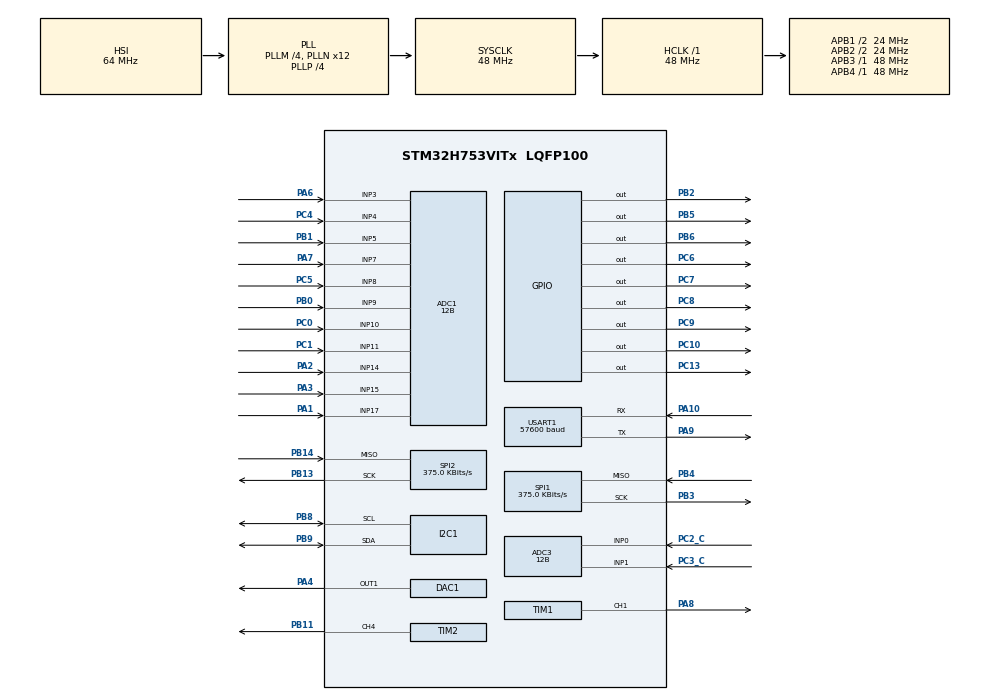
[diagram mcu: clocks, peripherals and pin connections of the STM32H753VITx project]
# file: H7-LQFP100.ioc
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ADC1.Channel-0\#ChannelRegularConversion=ADC_CHANNEL_3
ADC1.Channel-1\#ChannelRegularConversion=ADC_CHANNEL_4
ADC1.Channel-10\#ChannelRegularConversion=ADC_CHANNEL_17
ADC1.Channel-2\#ChannelRegularConversion=ADC_CHANNEL_5
ADC1.Channel-3\#ChannelRegularConversion=ADC_CHANNEL_7
ADC1.Channel-4\#ChannelRegularConversion=ADC_CHANNEL_8
ADC1.Channel-5\#ChannelRegularConversion=ADC_CHANNEL_9
ADC1.Channel-6\#ChannelRegularConversion=ADC_CHANNEL_10
ADC1.Channel-7\#ChannelRegularConversion=ADC_CHANNEL_11
ADC1.Channel-8\#ChannelRegularConversion=ADC_CHANNEL_14
ADC1.Channel-9\#ChannelRegularConversion=ADC_CHANNEL_15
ADC1.ClockPrescaler=ADC_CLOCK_ASYNC_DIV2
ADC1.ClockPrescalerADC3=ADC_CLOCK_ASYNC_DIV2
ADC1.ContinuousConvMode=ENABLE
ADC1.ConversionDataManagement=ADC_CONVERSIONDATA_DMA_CIRCULAR
ADC1.NbrOfConversion=11
ADC1.NbrOfConversionFlag=1
ADC1.OffsetNumber-0\#ChannelRegularConversion=ADC_OFFSET_NONE
ADC1.OffsetNumber-1\#ChannelRegularConversion=ADC_OFFSET_NONE
ADC1.OffsetNumber-10\#ChannelRegularConversion=ADC_OFFSET_NONE
ADC1.OffsetNumber-2\#ChannelRegularConversion=ADC_OFFSET_NONE
ADC1.OffsetNumber-3\#ChannelRegularConversion=ADC_OFFSET_NONE
ADC1.OffsetNumber-4\#ChannelRegularConversion=ADC_OFFSET_NONE
ADC1.OffsetNumber-5\#ChannelRegularConversion=ADC_OFFSET_NONE
ADC1.OffsetNumber-6\#ChannelRegularConversion=ADC_OFFSET_NONE
ADC1.OffsetNumber-7\#ChannelRegularConversion=ADC_OFFSET_NONE
ADC1.OffsetNumber-8\#ChannelRegularConversion=ADC_OFFSET_NONE
ADC1.OffsetNumber-9\#ChannelRegularConversion=ADC_OFFSET_NONE
ADC1.OffsetSignedSaturation-0\#ChannelRegularConversion=DISABLE
ADC1.Overrun=ADC_OVR_DATA_OVERWRITTEN
ADC1.Rank-0\#ChannelRegularConversion=1
ADC1.Rank-1\#ChannelRegularConversion=2
ADC1.Rank-10\#ChannelRegularConversion=11
ADC1.Rank-2\#ChannelRegularConversion=3
ADC1.Rank-3\#ChannelRegularConversion=4
ADC1.Rank-4\#ChannelRegularConversion=5
ADC1.Rank-5\#ChannelRegularConversion=6
ADC1.Rank-6\#ChannelRegularConversion=7
ADC1.Rank-7\#ChannelRegularConversion=8
ADC1.Rank-8\#ChannelRegularConversion=9
ADC1.Rank-9\#ChannelRegularConversion=10
ADC1.Resolution=ADC_RESOLUTION_12B
ADC1.SamplingTime-0\#ChannelRegularConversion=ADC_SAMPLETIME_810CYCLES_5
ADC1.SamplingTime-1\#ChannelRegularConversion=ADC_SAMPLETIME_810CYCLES_5
ADC1.SamplingTime-10\#ChannelRegularConversion=ADC_SAMPLETIME_810CYCLES_5
ADC1.SamplingTime-2\#ChannelRegularConversion=ADC_SAMPLETIME_810CYCLES_5
ADC1.SamplingTime-3\#ChannelRegularConversion=ADC_SAMPLETIME_810CYCLES_5
ADC1.SamplingTime-4\#ChannelRegularConversion=ADC_SAMPLETIME_810CYCLES_5
ADC1.SamplingTime-5\#ChannelRegularConversion=ADC_SAMPLETIME_810CYCLES_5
ADC1.SamplingTime-6\#ChannelRegularConversion=ADC_SAMPLETIME_810CYCLES_5
ADC1.SamplingTime-7\#ChannelRegularConversion=ADC_SAMPLETIME_810CYCLES_5
ADC1.SamplingTime-8\#ChannelRegularConversion=ADC_SAMPLETIME_810CYCLES_5
ADC1.SamplingTime-9\#ChannelRegularConversion=ADC_SAMPLETIME_810CYCLES_5
ADC1.master=1
ADC3.Channel-0\#ChannelRegularConversion=ADC_CHANNEL_TEMPSENSOR
ADC3.Channel-1\#ChannelRegularConversion=ADC_CHANNEL_VREFINT
ADC3.Channel-2\#ChannelRegularConversion=ADC_CHANNEL_0
ADC3.Channel-3\#ChannelRegularConversion=ADC_CHANNEL_1
ADC3.ClockPrescaler=ADC_CLOCK_ASYNC_DIV2
ADC3.ClockPrescalerADC3=ADC_CLOCK_ASYNC_DIV2
ADC3.ContinuousConvMode=ENABLE
ADC3.ConversionDataManagement=ADC_CONVERSIONDATA_DMA_CIRCULAR
ADC3.NbrOfConversion=4
ADC3.NbrOfConversionFlag=1
ADC3.OffsetNumber-0\#ChannelRegularConversion=ADC_OFFSET_NONE
ADC3.OffsetNumber-1\#ChannelRegularConversion=ADC_OFFSET_NONE
ADC3.OffsetNumber-2\#ChannelRegularConversion=ADC_OFFSET_NONE
ADC3.OffsetNumber-3\#ChannelRegularConversion=ADC_OFFSET_NONE
ADC3.OffsetSignedSaturation-0\#ChannelRegularConversion=DISABLE
ADC3.Overrun=ADC_OVR_DATA_OVERWRITTEN
ADC3.Rank-0\#ChannelRegularConversion=1
ADC3.Rank-1\#ChannelRegularConversion=2
ADC3.Rank-2\#ChannelRegularConversion=3
ADC3.Rank-3\#ChannelRegularConversion=4
ADC3.Resolution=ADC_RESOLUTION_12B
ADC3.SamplingTime-0\#ChannelRegularConversion=ADC_SAMPLETIME_810CYCLES_5
ADC3.SamplingTime-1\#ChannelRegularConversion=ADC_SAMPLETIME_810CYCLES_5
ADC3.SamplingTime-2\#ChannelRegularConversion=ADC_SAMPLETIME_810CYCLES_5
ADC3.SamplingTime-3\#ChannelRegularConversion=ADC_SAMPLETIME_810CYCLES_5
DAC1.DAC_Channel-DAC_OUT1=DAC_CHANNEL_1
DAC1.DAC_Trigger-DAC_OUT1=DAC_TRIGGER_T6_TRGO
Dma.ADC1.0.Direction=DMA_PERIPH_TO_MEMORY
Dma.ADC1.0.EventEnable=DISABLE
Dma.ADC1.0.FIFOMode=DMA_FIFOMODE_DISABLE
Dma.ADC1.0.Instance=DMA1_Stream0
Dma.ADC1.0.MemDataAlignment=DMA_MDATAALIGN_HALFWORD
Dma.ADC1.0.MemInc=DMA_MINC_ENABLE
Dma.ADC1.0.Mode=DMA_CIRCULAR
Dma.ADC1.0.PeriphDataAlignment=DMA_PDATAALIGN_HALFWORD
Dma.ADC1.0.PeriphInc=DMA_PINC_DISABLE
Dma.ADC1.0.Polarity=HAL_DMAMUX_REQ_GEN_RISING
Dma.ADC1.0.Priority=DMA_PRIORITY_LOW
Dma.ADC1.0.RequestNumber=1
Dma.ADC1.0.SignalID=NONE
Dma.ADC1.0.SyncEnable=DISABLE
Dma.ADC1.0.SyncPolarity=HAL_DMAMUX_SYNC_NO_EVENT
Dma.ADC1.0.SyncRequestNumber=1
Dma.ADC1.0.SyncSignalID=NONE
Dma.ADC3.1.Direction=DMA_PERIPH_TO_MEMORY
Dma.ADC3.1.EventEnable=DISABLE
Dma.ADC3.1.FIFOMode=DMA_FIFOMODE_DISABLE
Dma.ADC3.1.Instance=DMA1_Stream1
Dma.ADC3.1.MemDataAlignment=DMA_MDATAALIGN_HALFWORD
Dma.ADC3.1.MemInc=DMA_MINC_ENABLE
Dma.ADC3.1.Mode=DMA_CIRCULAR
Dma.ADC3.1.PeriphDataAlignment=DMA_PDATAALIGN_HALFWORD
Dma.ADC3.1.PeriphInc=DMA_PINC_DISABLE
Dma.ADC3.1.Polarity=HAL_DMAMUX_REQ_GEN_RISING
Dma.ADC3.1.Priority=DMA_PRIORITY_LOW
Dma.ADC3.1.RequestNumber=1
Dma.ADC3.1.SignalID=NONE
Dma.ADC3.1.SyncEnable=DISABLE
Dma.ADC3.1.SyncPolarity=HAL_DMAMUX_SYNC_NO_EVENT
Dma.ADC3.1.SyncRequestNumber=1
Dma.ADC3.1.SyncSignalID=NONE
Dma.DAC1_CH1.2.Direction=DMA_MEMORY_TO_PERIPH
Dma.DAC1_CH1.2.EventEnable=DISABLE
Dma.DAC1_CH1.2.FIFOMode=DMA_FIFOMODE_DISABLE
Dma.DAC1_CH1.2.Instance=DMA1_Stream5
Dma.DAC1_CH1.2.MemDataAlignment=DMA_MDATAALIGN_WORD
Dma.DAC1_CH1.2.MemInc=DMA_MINC_ENABLE
Dma.DAC1_CH1.2.Mode=DMA_CIRCULAR
Dma.DAC1_CH1.2.PeriphDataAlignment=DMA_PDATAALIGN_WORD
Dma.DAC1_CH1.2.PeriphInc=DMA_PINC_DISABLE
Dma.DAC1_CH1.2.Polarity=HAL_DMAMUX_REQ_GEN_RISING
Dma.DAC1_CH1.2.Priority=DMA_PRIORITY_LOW
Dma.DAC1_CH1.2.RequestNumber=1
Dma.DAC1_CH1.2.SignalID=NONE
Dma.DAC1_CH1.2.SyncEnable=DISABLE
Dma.DAC1_CH1.2.SyncPolarity=HAL_DMAMUX_SYNC_NO_EVENT
Dma.DAC1_CH1.2.SyncRequestNumber=1
Dma.DAC1_CH1.2.SyncSignalID=NONE
Dma.Request0=ADC1
Dma.Request1=ADC3
Dma.Request2=DAC1_CH1
I2C1.Timing=0x00506682
Mcu.Family=STM32H7
Mcu.Name=STM32H753VITx
Mcu.Package=LQFP100
NVIC.DMA1_Stream0_IRQn=true\:0\:0\:false\:false\:true\:false\:true\:true
NVIC.DMA1_Stream1_IRQn=true\:0\:0\:false\:false\:true\:false\:true\:true
NVIC.DMA1_Stream5_IRQn=true\:0\:0\:false\:false\:true\:false\:true\:true
NVIC.PriorityGroup=NVIC_PRIORITYGROUP_4
NVIC.TIM1_BRK_IRQn=true\:0\:0\:false\:false\:true\:true\:true\:true
NVIC.TIM1_CC_IRQn=true\:0\:0\:false\:false\:true\:true\:true\:true
NVIC.TIM1_TRG_COM_IRQn=true\:0\:0\:false\:false\:true\:true\:true\:true
NVIC.TIM1_UP_IRQn=true\:0\:0\:false\:false\:true\:true\:true\:true
NVIC.TIM2_IRQn=true\:1\:0\:true\:false\:true\:true\:true\:true
NVIC.TIM6_DAC_IRQn=true\:0\:0\:false\:false\:true\:true\:true\:true
NVIC.USART1_IRQn=true\:0\:0\:true\:false\:true\:true\:true\:true
PA1.Mode=IN17-Single-Ended
PA1.Signal=ADC1_INP17
PA10.Mode=Asynchronous
PA10.Signal=USART1_RX
PA2.Signal=ADCx_INP14
PA3.Signal=ADCx_INP15
PA4.Signal=COMP_DAC11_group
PA6.Signal=ADCx_INP3
PA7.Signal=ADCx_INP7
PA8.Signal=S_TIM1_CH1
PA9.Mode=Asynchronous
PA9.Signal=USART1_TX
PB0.Signal=ADCx_INP9
PB1.Signal=ADCx_INP5
PB11.Signal=S_TIM2_CH4
PB13.Mode=RX_Only_Simplex_Unidirect_Master
PB13.Signal=SPI2_SCK
PB14.Mode=RX_Only_Simplex_Unidirect_Master
PB14.Signal=SPI2_MISO
PB2.Signal=GPIO_Output
PB3\ (JTDO/TRACESWO).Mode=RX_Only_Simplex_Unidirect_Master
PB3\ (JTDO/TRACESWO).Signal=SPI1_SCK
PB4\ (NJTRST).Mode=RX_Only_Simplex_Unidirect_Master
PB4\ (NJTRST).Signal=SPI1_MISO
PB5.Signal=GPIO_Output
PB6.Signal=GPIO_Output
PB8.Mode=I2C
PB8.Signal=I2C1_SCL
PB9.Mode=I2C
PB9.Signal=I2C1_SDA
PC0.Signal=ADCx_INP10
PC1.Signal=ADCx_INP11
PC10.Signal=GPIO_Output
PC13.Signal=GPIO_Output
PC14-OSC32_IN\ (OSC32_IN).Mode=LSE-External-Oscillator
PC14-OSC32_IN\ (OSC32_IN).Signal=RCC_OSC32_IN
PC15-OSC32_OUT\ (OSC32_OUT).Mode=LSE-External-Oscillator
PC15-OSC32_OUT\ (OSC32_OUT).Signal=RCC_OSC32_OUT
PC2_C.Mode=IN0-Single-Ended
PC2_C.Signal=ADC3_INP0
PC3_C.Mode=IN1-Single-Ended
PC3_C.Signal=ADC3_INP1
PC4.Signal=ADCx_INP4
PC5.Signal=ADCx_INP8
PC6.Signal=GPIO_Output
PC7.Signal=GPIO_Output
PC8.Signal=GPIO_Output
PC9.Signal=GPIO_Output
PH0-OSC_IN\ (PH0).Mode=HSE-External-Oscillator
PH0-OSC_IN\ (PH0).Signal=RCC_OSC_IN
PH1-OSC_OUT\ (PH1).Mode=HSE-External-Oscillator
PH1-OSC_OUT\ (PH1).Signal=RCC_OSC_OUT
ProjectManager.HeapSize=0x200
ProjectManager.StackSize=0x400
ProjectManager.TargetToolchain=STM32CubeIDE
RCC.ADCFreq_Value=37500000
RCC.APB1Freq_Value=24000000
RCC.APB2Freq_Value=24000000
RCC.APB3Freq_Value=48000000
RCC.APB4Freq_Value=48000000
RCC.CortexFreq_Value=48000000
RCC.D2PPRE1=RCC_APB1_DIV2
RCC.D2PPRE2=RCC_APB2_DIV2
RCC.DIVM1=4
RCC.DIVM2=4
RCC.DIVN1=12
RCC.DIVN2=9
RCC.DIVP1=4
RCC.DIVP2=4
RCC.HCLKFreq_Value=48000000
RCC.PLL2FRACN=3072
RCC.PLL3FRACN=0
RCC.PLLFRACN=0
RCC.SYSCLKFreq_VALUE=48000000
RCC.SYSCLKSource=RCC_SYSCLKSOURCE_PLLCLK
RCC.USBFreq_Value=96000000
SH.ADCx_INP10.0=ADC1_INP10,IN10-Single-Ended
SH.ADCx_INP11.0=ADC1_INP11,IN11-Single-Ended
SH.ADCx_INP14.0=ADC1_INP14,IN14-Single-Ended
SH.ADCx_INP15.0=ADC1_INP15,IN15-Single-Ended
SH.ADCx_INP3.0=ADC1_INP3,IN3-Single-Ended
SH.ADCx_INP4.0=ADC1_INP4,IN4-Single-Ended
SH.ADCx_INP5.0=ADC1_INP5,IN5-Single-Ended
SH.ADCx_INP7.0=ADC1_INP7,IN7-Single-Ended
SH.ADCx_INP8.0=ADC1_INP8,IN8-Single-Ended
SH.ADCx_INP9.0=ADC1_INP9,IN9-Single-Ended
SH.COMP_DAC11_group.0=DAC1_OUT1,DAC_OUT1
SH.S_TIM1_CH1.0=TIM1_CH1,PWM Generation1 CH1
SH.S_TIM2_CH4.0=TIM2_CH4,PWM Generation4 CH4
SPI1.BaudRatePrescaler=SPI_BAUDRATEPRESCALER_256
SPI1.CalculateBaudRate=375.0 KBits/s
SPI1.DataSize=SPI_DATASIZE_16BIT
SPI1.Direction=SPI_DIRECTION_2LINES_RXONLY
SPI1.Mode=SPI_MODE_MASTER
SPI1.VirtualType=VM_MASTER
SPI2.BaudRatePrescaler=SPI_BAUDRATEPRESCALER_256
SPI2.CalculateBaudRate=375.0 KBits/s
SPI2.DataSize=SPI_DATASIZE_16BIT
SPI2.Direction=SPI_DIRECTION_2LINES_RXONLY
SPI2.Mode=SPI_MODE_MASTER
SPI2.VirtualType=VM_MASTER
TIM1.Channel-PWM\ Generation1\ CH1=TIM_CHANNEL_1
TIM1.Period=60000 - 1
TIM1.Prescaler=100 - 1
TIM1.Pulse-PWM\ Generation1\ CH1=480 - 1
TIM2.Channel-PWM\ Generation4\ CH4=TIM_CHANNEL_4
TIM2.Period=3125 - 1
TIM2.Prescaler=48 - 1
TIM2.Pulse-PWM\ Generation4\ CH4=0
TIM6.Period=3125
TIM6.Prescaler=48-1
TIM6.TIM_MasterOutputTrigger=TIM_TRGO_ENABLE
USART1.BaudRate=57600
USART1.VirtualMode-Asynchronous=VM_ASYNC
VP_ADC3_TempSens_Input.Mode=IN-TempSens
VP_ADC3_Vref_Input.Mode=IN-Vrefint
VP_TIM2_VS_ClockSourceINT.Mode=Internal
VP_TIM6_VS_ClockSourceINT.Mode=Enable_Timer
board=custom

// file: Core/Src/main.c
/* USER CODE BEGIN Header */
/**
 ******************************************************************************
 * @file           : main.c
 * @brief          : Main program body
 ******************************************************************************
 * @attention
 *
 * Copyright (c) 2023 STMicroelectronics.
 * All rights reserved.
 *
 * This software is licensed under terms that can be found in the LICENSE file
 * in the root directory of this software component.
 * If no LICENSE file comes with this software, it is provided AS-IS.
 *
 ******************************************************************************
 */
/* USER CODE END Header */
#include "main.h"

/* USER CODE BEGIN Includes */
#include <string.h>
#include <stdlib.h>
/* USER CODE END Includes */

/* USER CODE BEGIN PTD */
typedef struct {
	GPIO_TypeDef *gpio;
	uint16_t pin;
} gpio_pins;
const int HK_CADENCE = 1; //Should be set at 5
const gpio_pins gpios[] = { { GPIOB, GPIO_PIN_5 }, { GPIOB, GPIO_PIN_6 }, {
		GPIOC, GPIO_PIN_10 }, { GPIOC, GPIO_PIN_13 }, { GPIOC, GPIO_PIN_7 }, {
		GPIOC, GPIO_PIN_8 }, { GPIOC, GPIO_PIN_9 }, { GPIOC, GPIO_PIN_6 }, {
		GPIOB, GPIO_PIN_2 } };

/* USER CODE END PTD */

/* USER CODE BEGIN PD */
#define ADC1NumChannels 11
#define ADC3NumChannels 4
/* USER CODE END PD */

ADC_HandleTypeDef hadc1;
ADC_HandleTypeDef hadc3;
DMA_HandleTypeDef hdma_adc1;
DMA_HandleTypeDef hdma_adc3;

DAC_HandleTypeDef hdac1;
DMA_HandleTypeDef hdma_dac1_ch1;

I2C_HandleTypeDef hi2c1;

SPI_HandleTypeDef hspi1;
SPI_HandleTypeDef hspi2;

TIM_HandleTypeDef htim1;
TIM_HandleTypeDef htim2;
TIM_HandleTypeDef htim6;

UART_HandleTypeDef huart1;

/* USER CODE BEGIN PV */
#define BUFFER_SIZE 100
unsigned char rx_buf[BUFFER_SIZE];

/* Hexadecimal Addresses for I2C Temperature Sensors */
static const uint8_t ADT7410_1 = 0x48 << 1;
static const uint8_t ADT7410_2 = 0x4A << 1;
static const uint8_t ADT7410_3 = 0x49 << 1;
static const uint8_t ADT7410_4 = 0x4B << 1;

/* Internal ADC DMA variables */
/**
 * CHANGED THIS TO SIZE 15. As of 12/28/23 I have ADC 1 and ADC 3 enabled
 * ADC 1 has 15 channels and ADC 3 has 4. I was trying to isolate ADC 1
 * and just get that working but had no luck. This youtube video might help:
 * https://www.youtube.com/watch?v=AloHXBk6Bfk&t=255s
 */
ALIGN_32BYTES(static uint16_t ADC1Data[ADC1NumChannels]);
ALIGN_32BYTES(static uint16_t ADC3Data[ADC3NumChannels]);

/* DAC Variables for SWP */
uint32_t DAC_OUT[16] = { 0, 0, 620, 1241, 1861, 2482, 3103, 3723, 4095, 4095, 3723, 3103, 2482, 1861, 1241, 620 }; // For 3.3 volts
uint8_t step = 0;
int is_increasing = 1;
int auto_sweep = 0;

/* ERPA PACKET FACRTORING */
int SAMPLING_FACTOR = 1;
int FACTOR_COUNTER = 0;
int SWP_FACTOR_COUNTER = 0;

/* UART Variables */
const uint8_t erpa_sync = 0xAA; // SYNC byte to let packet interpreter / OBC know which packet is which
uint16_t erpa_seq = 0; // SEQ byte which keeps track of what # ERPA packet is being sent (0-65535)
const uint8_t pmt_sync = 0xBB; // SYNC byte to let packet interpreter / OBC know which packet is which
uint16_t pmt_seq = 0; // SEQ byte which keeps track of what # ERPA packet is being sent (0-65535)
const uint8_t hk_sync = 0xCC; // SYNC byte to let packet interpreter / OBC know which packet is which
uint16_t hk_seq = 0; // SEQ byte which keeps track of what # HK packet is being sent (0-65535)

int hk_counter = 0; // counter to know when to send HK packet (sent every 50 ERPA packets)
// we put them in the same routine and send HK when this count == 50
int startupTimer = 0;
uint8_t PMT_ON = 0;
uint8_t ERPA_ON = 0;
uint8_t HK_ON = 0;

static const uint8_t REG_TEMP = 0x00;

/* USER CODE END PV */

void SystemClock_Config(void);
void PeriphCommonClock_Config(void);
static void MX_GPIO_Init(void);
static void MX_DMA_Init(void);
static void MX_ADC1_Init(void);
static void MX_ADC3_Init(void);
static void MX_DAC1_Init(void);
static void MX_I2C1_Init(void);
static void MX_SPI1_Init(void);
static void MX_SPI2_Init(void);
static void MX_TIM1_Init(void);
static void MX_USART1_UART_Init(void);
static void MX_TIM2_Init(void);
static void MX_TIM6_Init(void);

/* USER CODE BEGIN 0 */

/**
 * @brief function to poll individual i2c sensor
 *
 * @param TEMP_ADDR address of individual i2c sensor
 * @return int16_t integer result from sensor
 */
int16_t poll_i2c_sensor(const uint8_t TEMP_ADDR) {
	int16_t output;
	uint8_t buf[2];
	HAL_StatusTypeDef ret;
	buf[0] = REG_TEMP;
	ret = HAL_I2C_Master_Transmit(&hi2c1, TEMP_ADDR, buf, 1, 1000);
	if (ret != HAL_OK) {
		strcpy((char*) buf, "Error Tx\r\n");
	} else {
		/* Read 2 bytes from the temperature register */
		ret = HAL_I2C_Master_Receive(&hi2c1, TEMP_ADDR, buf, 2, 1000);
		if (ret != HAL_OK) {
			strcpy((char*) buf, "Error Rx\r\n");
		} else {
			output = (int16_t) (buf[0] << 8);
			output = (output | buf[1]) >> 3;
		}
	}
	return output;
}

/**
 * @brief called in hk routine to poll each i2c sensor
 *
 * @return int16_t* size 4 buffer to return i2c values
 */
int16_t* i2c() {
	int16_t output1 = poll_i2c_sensor(ADT7410_1);
	int16_t output2 = poll_i2c_sensor(ADT7410_2);
	int16_t output3 = poll_i2c_sensor(ADT7410_3);
	int16_t output4 = poll_i2c_sensor(ADT7410_4);

	int16_t *results = malloc(4 * sizeof(int16_t));
	results[0] = output1;
	results[1] = output2;
	results[2] = output3;
	results[3] = output4;
	return results;
}

/**
 * @brief if auto sweep is enabled, will increase step
 *
 */
void do_auto_sweep() {
	if (step == 9) {
		is_increasing = 0;
		step--;
	} else if (step == 0) {
		is_increasing = 1;
		step++;
	}

	if (is_increasing) {
		step++;
	} else {
		step--;
	}

	HAL_DAC_SetValue(&hdac1, DAC_CHANNEL_1, DAC_ALIGN_12B_R, DAC_OUT[step]);

}

/**
 * @brief polls respective spi sensor and returns uint16_t value
 *
 * @param spi given spi peripheral
 * @return uint16_t raw value from reading spi peripheral
 */
uint8_t* spi(SPI_HandleTypeDef spi) {
	uint8_t spiRxBuffer[2];
	HAL_SPI_Receive(&spi, (uint8_t*) spiRxBuffer, 1, 1);
	uint8_t SPI_LSB = ((spiRxBuffer[0] & 0xFF00) >> 8);
	uint8_t SPI_MSB = (spiRxBuffer[1] & 0xFF);
	spi.Instance->CR1 |= 1 << 10; // THIS IS NEEDED TO STOP SPI2_SCK FROM GENERATING CLOCK PULSES
	uint8_t *results = malloc(2 * sizeof(uint8_t));
	results[0] = SPI_MSB;
	results[1] = SPI_LSB;
	return results;
}

/**
 * @brief Set the erpa sweep value
 *
 */
void set_erpa_sweep() {
	HAL_DAC_SetValue(&hdac1, DAC_CHANNEL_1, DAC_ALIGN_12B_R, DAC_OUT[step]);
	HAL_DAC_Start(&hdac1, DAC_CHANNEL_1);

}

/**
 * @brief polls erpa adcs
 *
 * @return uint16_t* results of erpa adcs
 */
uint16_t* erpa_adc() {

	uint16_t PC4 = ADC1Data[1]; 			// SWPmon --
	uint16_t PB0 = ADC1Data[5]; 	// TEMP1 -- verified doesn't need to change

	uint16_t *results = malloc(2 * sizeof(uint16_t));
	results[0] = PC4;
	results[1] = PB0;

	return results;

}

uint16_t* hk_adc1() {

	uint16_t PA1 = ADC1Data[10];// BUSVmon -- verified doesn't need to change
	uint16_t PA2 = ADC1Data[8];	// BUSImon -- verified doesn't need to change
	uint16_t PC0 = ADC1Data[6];		// 2v5mon -- verified doesn't need to change
	uint16_t PA3 = ADC1Data[9];				// n3v3mon --
	uint16_t PB1 = ADC1Data[2];		// n200v -- verified doesn't need to change
	uint16_t PA7 = ADC1Data[3];				// n800v --
	uint16_t PC1 = ADC1Data[7];				// 5vmon --
	uint16_t PC5 = ADC1Data[4];		// 15vmon -- verified doesn't need to change
	uint16_t PA6 = ADC1Data[0];				// 5vrefmon --

	uint16_t *results = malloc(9 * sizeof(uint16_t));
	results[0] = PA1;
	results[1] = PA2;
	results[2] = PC0;
	results[3] = PA3;
	results[4] = PB1;
	results[5] = PA7;
	results[6] = PC1;
	results[7] = PC5;
	results[8] = PA6;

	return results;

}

uint16_t* hk_adc3() {

	uint16_t vrefint = ADC3Data[0];
	uint16_t vsense = ADC3Data[1];
	uint16_t PC2 = ADC3Data[2]; 		// n5vmon --
	uint16_t PC3 = ADC3Data[3];			// 3v3mon --

	uint16_t *results = malloc(4 * sizeof(uint16_t));
	results[0] = vrefint;
	results[1] = vsense;
	results[2] = PC2;
	results[3] = PC3;

	return results;
}

/**
 * @brief sends erpa packet via UART
 *
 * @param erpa_spi erpa spi raw value
 * @param erpa_adc_results erpa adc results
 */
void send_erpa_packet(uint8_t *erpa_spi, uint16_t *erpa_adc_results) {

	uint8_t erpa_buf[14];
	erpa_buf[0] = erpa_sync;                  			// ERPA SYNC 0xAA MSB
	erpa_buf[1] = erpa_sync;                  			// ERPA SYNC 0xAA LSB
	erpa_buf[2] = ((erpa_seq & 0xFF00) >> 8); 				// ERPA SEQ # MSB
	erpa_buf[3] = (erpa_seq & 0xFF);          				// ERPA SEQ # MSB
	erpa_buf[4] = ((0 & 0xFF00) >> 8); 	  						// ENDmon MSB
	erpa_buf[5] = (0 & 0xFF);               					// ENDmon LSB
	erpa_buf[6] = ((erpa_adc_results[0] & 0xFF00) >> 8);    // SWP Monitored MSB
	erpa_buf[7] = (erpa_adc_results[0] & 0xFF);             // SWP Monitored LSB
	erpa_buf[8] = ((erpa_adc_results[1] & 0xFF00) >> 8);    // TEMPURATURE 1 MSB
	erpa_buf[9] = (erpa_adc_results[1] & 0xFF);             // TEMPURATURE 1 LSB
	erpa_buf[10] = ((0 & 0xFF00) >> 8);     				// TEMPURATURE 2 MSB
	erpa_buf[11] = (0 & 0xFF);                    			// TEMPURATURE 2 LSB
	erpa_buf[12] = erpa_spi[0];									// ERPA eADC MSB
	erpa_buf[13] = erpa_spi[1];									// ERPA eADC LSB

	HAL_UART_Transmit(&huart1, erpa_buf, sizeof(erpa_buf), 100);
	erpa_seq++;

}

/**
 * @brief sends hk packet via UART
 *
 * @param i2c_values values of all i2c sensors
 * @param hk_adc_results hk adc results
 */
void send_hk_packet(int16_t *i2c_values, uint16_t *hk_adc1_results,
		uint16_t *hk_adc3_results) {

	uint8_t hk_buf[38];									// GUI Structure

	hk_buf[0] = hk_sync;                     			// HK SYNC 0xCC MSB
	hk_buf[1] = hk_sync;                     			// HK SYNC 0xCC LSB
	hk_buf[2] = ((hk_seq & 0xFF00) >> 8);    			// HK SEQ # MSB
	hk_buf[3] = (hk_seq & 0xFF);             			// HK SEQ # LSB
	hk_buf[4] = ((hk_adc3_results[1] & 0xFF00) >> 8);	// HK vsense MSB
	hk_buf[5] = (hk_adc3_results[1] & 0xFF);			// HK vsense LSB
	hk_buf[6] = ((hk_adc3_results[0] & 0xFF00) >> 8);	// HK vrefint MSB
	hk_buf[7] = (hk_adc3_results[0] & 0xFF);			// HK vrefint LSB
	hk_buf[8] = ((i2c_values[0] & 0xFF00) >> 8);		// HK TEMP1 MSB
	hk_buf[9] = (i2c_values[0] & 0xFF);					// HK TEMP1 LSB
	hk_buf[10] = ((i2c_values[1] & 0xFF00) >> 8);		// HK TEMP2 MSB
	hk_buf[11] = (i2c_values[1] & 0xFF);				// HK TEMP2 LSB
	hk_buf[12] = ((i2c_values[2] & 0xFF00) >> 8);		// HK TEMP3 MSB
	hk_buf[13] = (i2c_values[2] & 0xFF);				// HK TEMP3 LSB
	hk_buf[14] = ((i2c_values[3] & 0xFF00) >> 8);		// HK TEMP4 MSB
	hk_buf[15] = (i2c_values[3] & 0xFF);				// HK TEMP4 LSB
	hk_buf[16] = ((hk_adc1_results[0] & 0xFF00) >> 8);	// HK BUSvmon MSB
	hk_buf[17] = (hk_adc1_results[0] & 0xFF);			// HK BUSvmon LSB
	hk_buf[18] = ((hk_adc1_results[1] & 0xFF00) >> 8);	// HK BUSimon MSB
	hk_buf[19] = (hk_adc1_results[1] & 0xFF);			// HK BUSimon LSB
	hk_buf[20] = ((hk_adc1_results[2] & 0xFF00) >> 8);	// HK 2v5mon MSB
	hk_buf[21] = (hk_adc1_results[2] & 0xFF);			// HK 2v5mon LSB
	hk_buf[22] = ((hk_adc3_results[3] & 0xFF00) >> 8);	// HK 3v3mon MSB
	hk_buf[23] = (hk_adc3_results[3] & 0xFF);			// HK 3v3mon LSB
	hk_buf[24] = ((hk_adc1_results[6] & 0xFF00) >> 8);	// HK 5vmon MSB
	hk_buf[25] = (hk_adc1_results[6] & 0xFF);			// HK 5vmon LSB
	hk_buf[26] = ((hk_adc1_results[3] & 0xFF00) >> 8);	// HK n3v3mon MSB
	hk_buf[27] = (hk_adc1_results[3] & 0xFF);			// HK n3v3mon LSB
	hk_buf[28] = ((hk_adc3_results[2] & 0xFF00) >> 8);	// HK n5vmon MSB
	hk_buf[29] = (hk_adc3_results[2] & 0xFF);			// HK n5vmon LSB
	hk_buf[30] = ((hk_adc1_results[7] & 0xFF00) >> 8);	// HK 15vmon MSB
	hk_buf[31] = (hk_adc1_results[7] & 0xFF);			// HK 15vmon LSB
	hk_buf[32] = ((hk_adc1_results[8] & 0xFF00) >> 8);	// HK 5vrefmon MSB
	hk_buf[33] = (hk_adc1_results[8] & 0xFF);			// HK 5vrefmon LSB
	hk_buf[34] = ((hk_adc1_results[4] & 0xFF00) >> 8);	// HK n150vmon MSB
	hk_buf[35] = (hk_adc1_results[4] & 0xFF);			// HK n150vmon LSB
	hk_buf[36] = ((hk_adc1_results[5] & 0xFF00) >> 8);	// HK n800vmon MSB
	hk_buf[37] = (hk_adc1_results[5] & 0xFF);			// HK n800vmon LSB

	HAL_UART_Transmit(&huart1, hk_buf, sizeof(hk_buf), 100);
	hk_seq++;

}

/**
 * @brief sends pmt packet via UART
 *
 * @param pmt_spi raw pmt spi value
 */
void send_pmt_packet(uint8_t *pmt_spi) {

	uint8_t pmt_buf[6];

	pmt_buf[0] = pmt_sync;						// PMT SYNC MSB 0xBB
	pmt_buf[1] = pmt_sync;						// PMT SYNC LSB 0xBB
	pmt_buf[2] = ((pmt_seq & 0xFF00) >> 8);		// PMT SEQ # MSB
	pmt_buf[3] = (pmt_seq & 0xFF);				// PMT SEQ # LSB
	pmt_buf[4] = pmt_spi[0];					// PMT eADC MSB
	pmt_buf[5] = pmt_spi[1];					// PMT eADC LSB

	HAL_UART_Transmit(&huart1, pmt_buf, sizeof(pmt_buf), 100);
	pmt_seq++;
}

void HAL_TIM_OC_DelayElapsedCallback(TIM_HandleTypeDef *htim) {
	if (htim == &htim2) {
		if (ERPA_ON) {
			SWP_FACTOR_COUNTER++;

			while (HAL_GPIO_ReadPin(GPIOB, GPIO_PIN_11)) {
			}

			uint8_t *spi2_results = spi(hspi2);
			uint16_t *erpa_adc_results = erpa_adc();

//			if (SWP_FACTOR_COUNTER == (SAMPLING_FACTOR * 2)) {
//				if (auto_sweep) {
//					do_auto_sweep();
//				} else {
//					set_erpa_sweep();
//				}
//				SWP_FACTOR_COUNTER = 0;
//			}

			send_erpa_packet(spi2_results, erpa_adc_results);

			free(spi2_results);
			free(erpa_adc_results);
		}
		if (HK_ON) {
			int16_t *i2c_values = i2c();
			uint16_t *hk_adc1_results = hk_adc1();
			uint16_t *hk_adc3_results = hk_adc3();

			send_hk_packet(i2c_values, hk_adc1_results, hk_adc3_results);

			free(i2c_values);
			free(hk_adc1_results);
			free(hk_adc3_results);

		}

	} else if (htim == &htim1) {
		if (PMT_ON) {

			while (HAL_GPIO_ReadPin(GPIOA, GPIO_PIN_8)) {
			}

			uint8_t *spi1_results = spi(hspi1);

			send_pmt_packet(spi1_results);

			free(spi1_results);
		}
	}
}

void HAL_UART_RxCpltCallback(UART_HandleTypeDef *huart) {
	HAL_UART_Receive_IT(&huart1, rx_buf, 1);
	unsigned char key = rx_buf[0];

	switch (key) {
	case 0x0B: {
		HAL_GPIO_WritePin(gpios[8].gpio, gpios[8].pin, GPIO_PIN_SET);
		break;
	}
	case 0x0A: {
		HAL_GPIO_WritePin(gpios[8].gpio, gpios[8].pin, GPIO_PIN_RESET);
		break;
	}
	case 0x1B: {
		if (step < 9) {
			step++;
		}
		break;
	}
	case 0x1C: {
		if (step > 0) {
			step--;
		}
		break;
	}
	case 0x1D: {
		if (!auto_sweep) {
			auto_sweep = 1;
			step = 0;
		} else {
			auto_sweep = 0;
			step = 0;
		}
		break;
	}
	case 0x24: {
		if (SAMPLING_FACTOR < 32) {
			SAMPLING_FACTOR *= 2;
			FACTOR_COUNTER = 0;
			SWP_FACTOR_COUNTER = 0;
		}
		break;
	}
	case 0x25: {
		if (SAMPLING_FACTOR > 1) {
			SAMPLING_FACTOR /= 2;
			FACTOR_COUNTER = 0;
			SWP_FACTOR_COUNTER = 0;
		}
		break;
	}
	case 0x00: {

		HAL_GPIO_WritePin(gpios[0].gpio, gpios[0].pin, GPIO_PIN_SET);
		break;
	}
	case 0x13: {
		HAL_GPIO_WritePin(gpios[0].gpio, gpios[0].pin, GPIO_PIN_RESET);
		break;
	}
	case 0x01: {

		HAL_GPIO_WritePin(gpios[1].gpio, gpios[1].pin, GPIO_PIN_SET);
		break;
	}
	case 0x14: {
		HAL_GPIO_WritePin(gpios[1].gpio, gpios[1].pin, GPIO_PIN_RESET);
		break;
	}
	case 0x02: {
		HAL_GPIO_WritePin(gpios[2].gpio, gpios[2].pin, GPIO_PIN_SET);
		break;
	}
	case 0x15: {
		HAL_GPIO_WritePin(gpios[2].gpio, gpios[2].pin, GPIO_PIN_RESET);
		break;
	}
	case 0x03: {
		HAL_GPIO_WritePin(gpios[3].gpio, gpios[3].pin, GPIO_PIN_SET);
		break;
	}
	case 0x16: {
		HAL_GPIO_WritePin(gpios[3].gpio, gpios[3].pin, GPIO_PIN_RESET);
		break;
	}
	case 0x04: {
		HAL_GPIO_WritePin(gpios[4].gpio, gpios[4].pin, GPIO_PIN_SET);
		break;
	}
	case 0x17: {
		HAL_GPIO_WritePin(gpios[4].gpio, gpios[4].pin, GPIO_PIN_RESET);
		break;
	}
	case 0x05: {
		HAL_GPIO_WritePin(gpios[5].gpio, gpios[5].pin, GPIO_PIN_SET);
		break;
	}
	case 0x18: {
		HAL_GPIO_WritePin(gpios[5].gpio, gpios[5].pin, GPIO_PIN_RESET);
		break;
	}
	case 0x06: {
		HAL_GPIO_WritePin(gpios[6].gpio, gpios[6].pin, GPIO_PIN_SET);
		break;
	}
	case 0x19: {
		HAL_GPIO_WritePin(gpios[6].gpio, gpios[6].pin, GPIO_PIN_RESET);
		break;
	}
	case 0x07: {
		HAL_GPIO_WritePin(gpios[7].gpio, gpios[7].pin, GPIO_PIN_SET);
		break;
	}
	case 0x1A: {
		HAL_GPIO_WritePin(gpios[7].gpio, gpios[7].pin, GPIO_PIN_RESET);
		break;
	}
	case 0x0C: {
		HAL_SuspendTick();
		HAL_PWR_EnterSTOPMode(PWR_LOWPOWERREGULATOR_ON, PWR_STOPENTRY_WFI);
		NVIC_SystemReset();
		break;
	}
	case 0x0D: {
		PMT_ON = 1;
		HAL_TIM_OC_Start_IT(&htim1, TIM_CHANNEL_1);
		break;
	}
	case 0x10: {
		PMT_ON = 0;
		HAL_TIM_OC_Stop_IT(&htim1, TIM_CHANNEL_1);

		break;
	}
	case 0x0E: {
		ERPA_ON = 1;
		HAL_TIM_OC_Start_IT(&htim2, TIM_CHANNEL_4);
		break;
	}
	case 0x11: {
		ERPA_ON = 0;
		HAL_TIM_OC_Stop_IT(&htim2, TIM_CHANNEL_4);

		break;
	}
	case 0x0F: {
		HK_ON = 1;
		break;
	}
	case 0x12: {
		HK_ON = 0;
		break;
	}
	}
}

/* USER CODE END 0 */

int main(void)
{

  /* MCU Configuration--------------------------------------------------------*/

  /* Reset of all peripherals, Initializes the Flash interface and the Systick. */
  HAL_Init();

  /* Configure the system clock */
  SystemClock_Config();

/* Configure the peripherals common clocks */
  PeriphCommonClock_Config();

  /* USER CODE BEGIN SysInit */
	MX_GPIO_Init();
	MX_DAC1_Init();
	MX_TIM1_Init();
	MX_TIM2_Init();
	MX_I2C1_Init();
	MX_SPI1_Init();
	MX_DMA_Init();
	MX_ADC1_Init();
	MX_USART1_UART_Init();
	MX_ADC3_Init();
	MX_SPI2_Init();

  /* USER CODE END SysInit */

  /* Initialize all configured peripherals */
  MX_GPIO_Init();
  MX_DMA_Init();
  MX_ADC1_Init();
  MX_ADC3_Init();
  MX_DAC1_Init();
  MX_I2C1_Init();
  MX_SPI1_Init();
  MX_SPI2_Init();
  MX_TIM1_Init();
  MX_USART1_UART_Init();
  MX_TIM2_Init();
  MX_TIM6_Init();
  /* USER CODE BEGIN 2 */
  HAL_TIM_Base_Start(&htim6);

  HAL_DAC_Start_DMA(&hdac1, DAC1_CHANNEL_1, DAC_OUT, 16, DAC_ALIGN_12B_R);

	TIM2->CCR4 = 312;
//	HAL_TIM_PWM_Start(&htim2, TIM_CHANNEL_4);
//
//	// Moved from the do_auto_sweep function, it should only need to be started once.
//	if (HAL_DAC_Start(&hdac1, DAC_CHANNEL_1) != HAL_OK) {
//		Error_Handler();
//	}

//  SYSCFG->PMCR &= ~(1 << 27);
//  SYSCFG->PMCR &= ~(1 << 26);

	if (HAL_ADCEx_Calibration_Start(&hadc1, ADC_CALIB_OFFSET_LINEARITY,
			ADC_SINGLE_ENDED) != HAL_OK) {
		/* Calibration Error */
		Error_Handler();
	}

	if (HAL_ADC_Start_DMA(&hadc1, (uint32_t*) ADC1Data,
	ADC1NumChannels) != HAL_OK) {
		Error_Handler();
	}

	if (HAL_ADCEx_Calibration_Start(&hadc3, ADC_CALIB_OFFSET_LINEARITY,
			ADC_SINGLE_ENDED) != HAL_OK) {
		/* Calibration Error */
		Error_Handler();
	}

	if (HAL_ADC_Start_DMA(&hadc3, (uint32_t*) ADC3Data,
	ADC3NumChannels) != HAL_OK) {
		Error_Handler();
	}

	while (__HAL_UART_GET_FLAG(&huart1, USART_ISR_BUSY) == SET)
		;
	while (__HAL_UART_GET_FLAG(&huart1, USART_ISR_REACK) == RESET)
		;

  /* USER CODE END 2 */

  /* Infinite loop */
  /* USER CODE BEGIN WHILE */
	while (1) {
		HAL_UART_Receive_IT(&huart1, rx_buf, 1);

    /* USER CODE END WHILE */

	}
}

void SystemClock_Config(void)
{
  RCC_OscInitTypeDef RCC_OscInitStruct = {0};
  RCC_ClkInitTypeDef RCC_ClkInitStruct = {0};

  /** Supply configuration update enable
  */
  HAL_PWREx_ConfigSupply(PWR_LDO_SUPPLY);

  /** Configure the main internal regulator output voltage
  */
  __HAL_PWR_VOLTAGESCALING_CONFIG(PWR_REGULATOR_VOLTAGE_SCALE3);

  while(!__HAL_PWR_GET_FLAG(PWR_FLAG_VOSRDY)) {}

  /** Macro to configure the PLL clock source
  */
  __HAL_RCC_PLL_PLLSOURCE_CONFIG(RCC_PLLSOURCE_HSI);

  /** Initializes the RCC Oscillators according to the specified parameters
  * in the RCC_OscInitTypeDef structure.
  */
  RCC_OscInitStruct.OscillatorType = RCC_OSCILLATORTYPE_HSI;
  RCC_OscInitStruct.HSIState = RCC_HSI_DIV1;
  RCC_OscInitStruct.HSICalibrationValue = RCC_HSICALIBRATION_DEFAULT;
  RCC_OscInitStruct.PLL.PLLState = RCC_PLL_ON;
  RCC_OscInitStruct.PLL.PLLSource = RCC_PLLSOURCE_HSI;
  RCC_OscInitStruct.PLL.PLLM = 4;
  RCC_OscInitStruct.PLL.PLLN = 12;
  RCC_OscInitStruct.PLL.PLLP = 4;
  RCC_OscInitStruct.PLL.PLLQ = 2;
  RCC_OscInitStruct.PLL.PLLR = 2;
  RCC_OscInitStruct.PLL.PLLRGE = RCC_PLL1VCIRANGE_3;
  RCC_OscInitStruct.PLL.PLLVCOSEL = RCC_PLL1VCOWIDE;
  RCC_OscInitStruct.PLL.PLLFRACN = 0;
  if (HAL_RCC_OscConfig(&RCC_OscInitStruct) != HAL_OK)
  {
    Error_Handler();
  }

  /** Initializes the CPU, AHB and APB buses clocks
  */
  RCC_ClkInitStruct.ClockType = RCC_CLOCKTYPE_HCLK|RCC_CLOCKTYPE_SYSCLK
                              |RCC_CLOCKTYPE_PCLK1|RCC_CLOCKTYPE_PCLK2
                              |RCC_CLOCKTYPE_D3PCLK1|RCC_CLOCKTYPE_D1PCLK1;
  RCC_ClkInitStruct.SYSCLKSource = RCC_SYSCLKSOURCE_PLLCLK;
  RCC_ClkInitStruct.SYSCLKDivider = RCC_SYSCLK_DIV1;
  RCC_ClkInitStruct.AHBCLKDivider = RCC_HCLK_DIV1;
  RCC_ClkInitStruct.APB3CLKDivider = RCC_APB3_DIV1;
  RCC_ClkInitStruct.APB1CLKDivider = RCC_APB1_DIV2;
  RCC_ClkInitStruct.APB2CLKDivider = RCC_APB2_DIV2;
  RCC_ClkInitStruct.APB4CLKDivider = RCC_APB4_DIV1;

  if (HAL_RCC_ClockConfig(&RCC_ClkInitStruct, FLASH_LATENCY_1) != HAL_OK)
  {
    Error_Handler();
  }
}

void PeriphCommonClock_Config(void)
{
  RCC_PeriphCLKInitTypeDef PeriphClkInitStruct = {0};

  /** Initializes the peripherals clock
  */
  PeriphClkInitStruct.PeriphClockSelection = RCC_PERIPHCLK_ADC;
  PeriphClkInitStruct.PLL2.PLL2M = 4;
  PeriphClkInitStruct.PLL2.PLL2N = 9;
  PeriphClkInitStruct.PLL2.PLL2P = 4;
  PeriphClkInitStruct.PLL2.PLL2Q = 2;
  PeriphClkInitStruct.PLL2.PLL2R = 2;
  PeriphClkInitStruct.PLL2.PLL2RGE = RCC_PLL2VCIRANGE_3;
  PeriphClkInitStruct.PLL2.PLL2VCOSEL = RCC_PLL2VCOMEDIUM;
  PeriphClkInitStruct.PLL2.PLL2FRACN = 3072;
  PeriphClkInitStruct.AdcClockSelection = RCC_ADCCLKSOURCE_PLL2;
  if (HAL_RCCEx_PeriphCLKConfig(&PeriphClkInitStruct) != HAL_OK)
  {
    Error_Handler();
  }
}

static void MX_ADC1_Init(void)
{

  ADC_MultiModeTypeDef multimode = {0};
  ADC_ChannelConfTypeDef sConfig = {0};

  /** Common config
  */
  hadc1.Instance = ADC1;
  hadc1.Init.ClockPrescaler = ADC_CLOCK_ASYNC_DIV2;
  hadc1.Init.Resolution = ADC_RESOLUTION_12B;
  hadc1.Init.ScanConvMode = ADC_SCAN_ENABLE;
  hadc1.Init.EOCSelection = ADC_EOC_SINGLE_CONV;
  hadc1.Init.LowPowerAutoWait = DISABLE;
  hadc1.Init.ContinuousConvMode = ENABLE;
  hadc1.Init.NbrOfConversion = 11;
  hadc1.Init.DiscontinuousConvMode = DISABLE;
  hadc1.Init.ExternalTrigConv = ADC_SOFTWARE_START;
  hadc1.Init.ExternalTrigConvEdge = ADC_EXTERNALTRIGCONVEDGE_NONE;
  hadc1.Init.ConversionDataManagement = ADC_CONVERSIONDATA_DMA_CIRCULAR;
  hadc1.Init.Overrun = ADC_OVR_DATA_OVERWRITTEN;
  hadc1.Init.LeftBitShift = ADC_LEFTBITSHIFT_NONE;
  hadc1.Init.OversamplingMode = DISABLE;
  if (HAL_ADC_Init(&hadc1) != HAL_OK)
  {
    Error_Handler();
  }

  /** Configure the ADC multi-mode
  */
  multimode.Mode = ADC_MODE_INDEPENDENT;
  if (HAL_ADCEx_MultiModeConfigChannel(&hadc1, &multimode) != HAL_OK)
  {
    Error_Handler();
  }

  /** Configure Regular Channel
  */
  sConfig.Channel = ADC_CHANNEL_3;
  sConfig.Rank = ADC_REGULAR_RANK_1;
  sConfig.SamplingTime = ADC_SAMPLETIME_810CYCLES_5;
  sConfig.SingleDiff = ADC_SINGLE_ENDED;
  sConfig.OffsetNumber = ADC_OFFSET_NONE;
  sConfig.Offset = 0;
  sConfig.OffsetSignedSaturation = DISABLE;
  if (HAL_ADC_ConfigChannel(&hadc1, &sConfig) != HAL_OK)
  {
    Error_Handler();
  }

  /** Configure Regular Channel
  */
  sConfig.Channel = ADC_CHANNEL_4;
  sConfig.Rank = ADC_REGULAR_RANK_2;
  if (HAL_ADC_ConfigChannel(&hadc1, &sConfig) != HAL_OK)
  {
    Error_Handler();
  }

  /** Configure Regular Channel
  */
  sConfig.Channel = ADC_CHANNEL_5;
  sConfig.Rank = ADC_REGULAR_RANK_3;
  if (HAL_ADC_ConfigChannel(&hadc1, &sConfig) != HAL_OK)
  {
    Error_Handler();
  }

  /** Configure Regular Channel
  */
  sConfig.Channel = ADC_CHANNEL_7;
  sConfig.Rank = ADC_REGULAR_RANK_4;
  if (HAL_ADC_ConfigChannel(&hadc1, &sConfig) != HAL_OK)
  {
    Error_Handler();
  }

  /** Configure Regular Channel
  */
  sConfig.Channel = ADC_CHANNEL_8;
  sConfig.Rank = ADC_REGULAR_RANK_5;
  if (HAL_ADC_ConfigChannel(&hadc1, &sConfig) != HAL_OK)
  {
    Error_Handler();
  }

  /** Configure Regular Channel
  */
  sConfig.Channel = ADC_CHANNEL_9;
  sConfig.Rank = ADC_REGULAR_RANK_6;
  if (HAL_ADC_ConfigChannel(&hadc1, &sConfig) != HAL_OK)
  {
    Error_Handler();
  }

  /** Configure Regular Channel
  */
  sConfig.Channel = ADC_CHANNEL_10;
  sConfig.Rank = ADC_REGULAR_RANK_7;
  if (HAL_ADC_ConfigChannel(&hadc1, &sConfig) != HAL_OK)
  {
    Error_Handler();
  }

  /** Configure Regular Channel
  */
  sConfig.Channel = ADC_CHANNEL_11;
  sConfig.Rank = ADC_REGULAR_RANK_8;
  if (HAL_ADC_ConfigChannel(&hadc1, &sConfig) != HAL_OK)
  {
    Error_Handler();
  }

  /** Configure Regular Channel
  */
  sConfig.Channel = ADC_CHANNEL_14;
  sConfig.Rank = ADC_REGULAR_RANK_9;
  if (HAL_ADC_ConfigChannel(&hadc1, &sConfig) != HAL_OK)
  {
    Error_Handler();
  }

  /** Configure Regular Channel
  */
  sConfig.Channel = ADC_CHANNEL_15;
  sConfig.Rank = ADC_REGULAR_RANK_10;
  if (HAL_ADC_ConfigChannel(&hadc1, &sConfig) != HAL_OK)
  {
    Error_Handler();
  }

  /** Configure Regular Channel
  */
  sConfig.Channel = ADC_CHANNEL_17;
  sConfig.Rank = ADC_REGULAR_RANK_11;
  if (HAL_ADC_ConfigChannel(&hadc1, &sConfig) != HAL_OK)
  {
    Error_Handler();
  }

}

static void MX_ADC3_Init(void)
{

  ADC_ChannelConfTypeDef sConfig = {0};

  /** Common config
  */
  hadc3.Instance = ADC3;
  hadc3.Init.ClockPrescaler = ADC_CLOCK_ASYNC_DIV2;
  hadc3.Init.Resolution = ADC_RESOLUTION_12B;
  hadc3.Init.ScanConvMode = ADC_SCAN_ENABLE;
  hadc3.Init.EOCSelection = ADC_EOC_SINGLE_CONV;
  hadc3.Init.LowPowerAutoWait = DISABLE;
  hadc3.Init.ContinuousConvMode = ENABLE;
  hadc3.Init.NbrOfConversion = 4;
  hadc3.Init.DiscontinuousConvMode = DISABLE;
  hadc3.Init.ExternalTrigConv = ADC_SOFTWARE_START;
  hadc3.Init.ExternalTrigConvEdge = ADC_EXTERNALTRIGCONVEDGE_NONE;
  hadc3.Init.ConversionDataManagement = ADC_CONVERSIONDATA_DMA_CIRCULAR;
  hadc3.Init.Overrun = ADC_OVR_DATA_OVERWRITTEN;
  hadc3.Init.LeftBitShift = ADC_LEFTBITSHIFT_NONE;
  hadc3.Init.OversamplingMode = DISABLE;
  if (HAL_ADC_Init(&hadc3) != HAL_OK)
  {
    Error_Handler();
  }

  /** Configure Regular Channel
  */
  sConfig.Channel = ADC_CHANNEL_TEMPSENSOR;
  sConfig.Rank = ADC_REGULAR_RANK_1;
  sConfig.SamplingTime = ADC_SAMPLETIME_810CYCLES_5;
  sConfig.SingleDiff = ADC_SINGLE_ENDED;
  sConfig.OffsetNumber = ADC_OFFSET_NONE;
  sConfig.Offset = 0;
  sConfig.OffsetSignedSaturation = DISABLE;
  if (HAL_ADC_ConfigChannel(&hadc3, &sConfig) != HAL_OK)
  {
    Error_Handler();
  }

  /** Configure Regular Channel
  */
  sConfig.Channel = ADC_CHANNEL_VREFINT;
  sConfig.Rank = ADC_REGULAR_RANK_2;
  if (HAL_ADC_ConfigChannel(&hadc3, &sConfig) != HAL_OK)
  {
    Error_Handler();
  }

  /** Configure Regular Channel
  */
  sConfig.Channel = ADC_CHANNEL_0;
  sConfig.Rank = ADC_REGULAR_RANK_3;
  if (HAL_ADC_ConfigChannel(&hadc3, &sConfig) != HAL_OK)
  {
    Error_Handler();
  }

  /** Configure Regular Channel
  */
  sConfig.Channel = ADC_CHANNEL_1;
  sConfig.Rank = ADC_REGULAR_RANK_4;
  if (HAL_ADC_ConfigChannel(&hadc3, &sConfig) != HAL_OK)
  {
    Error_Handler();
  }

}

static void MX_DAC1_Init(void)
{

  DAC_ChannelConfTypeDef sConfig = {0};

  /** DAC Initialization
  */
  hdac1.Instance = DAC1;
  if (HAL_DAC_Init(&hdac1) != HAL_OK)
  {
    Error_Handler();
  }

  /** DAC channel OUT1 config
  */
  sConfig.DAC_SampleAndHold = DAC_SAMPLEANDHOLD_DISABLE;
  sConfig.DAC_Trigger = DAC_TRIGGER_T6_TRGO;
  sConfig.DAC_OutputBuffer = DAC_OUTPUTBUFFER_ENABLE;
  sConfig.DAC_ConnectOnChipPeripheral = DAC_CHIPCONNECT_DISABLE;
  sConfig.DAC_UserTrimming = DAC_TRIMMING_FACTORY;
  if (HAL_DAC_ConfigChannel(&hdac1, &sConfig, DAC_CHANNEL_1) != HAL_OK)
  {
    Error_Handler();
  }

}

static void MX_I2C1_Init(void)
{

  hi2c1.Instance = I2C1;
  hi2c1.Init.Timing = 0x00506682;
  hi2c1.Init.OwnAddress1 = 0;
  hi2c1.Init.AddressingMode = I2C_ADDRESSINGMODE_7BIT;
  hi2c1.Init.DualAddressMode = I2C_DUALADDRESS_DISABLE;
  hi2c1.Init.OwnAddress2 = 0;
  hi2c1.Init.OwnAddress2Masks = I2C_OA2_NOMASK;
  hi2c1.Init.GeneralCallMode = I2C_GENERALCALL_DISABLE;
  hi2c1.Init.NoStretchMode = I2C_NOSTRETCH_DISABLE;
  if (HAL_I2C_Init(&hi2c1) != HAL_OK)
  {
    Error_Handler();
  }

  /** Configure Analogue filter
  */
  if (HAL_I2CEx_ConfigAnalogFilter(&hi2c1, I2C_ANALOGFILTER_ENABLE) != HAL_OK)
  {
    Error_Handler();
  }

  /** Configure Digital filter
  */
  if (HAL_I2CEx_ConfigDigitalFilter(&hi2c1, 0) != HAL_OK)
  {
    Error_Handler();
  }

}

static void MX_SPI1_Init(void)
{

  /* SPI1 parameter configuration*/
  hspi1.Instance = SPI1;
  hspi1.Init.Mode = SPI_MODE_MASTER;
  hspi1.Init.Direction = SPI_DIRECTION_2LINES_RXONLY;
  hspi1.Init.DataSize = SPI_DATASIZE_16BIT;
  hspi1.Init.CLKPolarity = SPI_POLARITY_LOW;
  hspi1.Init.CLKPhase = SPI_PHASE_1EDGE;
  hspi1.Init.NSS = SPI_NSS_SOFT;
  hspi1.Init.BaudRatePrescaler = SPI_BAUDRATEPRESCALER_256;
  hspi1.Init.FirstBit = SPI_FIRSTBIT_MSB;
  hspi1.Init.TIMode = SPI_TIMODE_DISABLE;
  hspi1.Init.CRCCalculation = SPI_CRCCALCULATION_DISABLE;
  hspi1.Init.CRCPolynomial = 0x0;
  hspi1.Init.NSSPMode = SPI_NSS_PULSE_ENABLE;
  hspi1.Init.NSSPolarity = SPI_NSS_POLARITY_LOW;
  hspi1.Init.FifoThreshold = SPI_FIFO_THRESHOLD_01DATA;
  hspi1.Init.TxCRCInitializationPattern = SPI_CRC_INITIALIZATION_ALL_ZERO_PATTERN;
  hspi1.Init.RxCRCInitializationPattern = SPI_CRC_INITIALIZATION_ALL_ZERO_PATTERN;
  hspi1.Init.MasterSSIdleness = SPI_MASTER_SS_IDLENESS_00CYCLE;
  hspi1.Init.MasterInterDataIdleness = SPI_MASTER_INTERDATA_IDLENESS_00CYCLE;
  hspi1.Init.MasterReceiverAutoSusp = SPI_MASTER_RX_AUTOSUSP_DISABLE;
  hspi1.Init.MasterKeepIOState = SPI_MASTER_KEEP_IO_STATE_DISABLE;
  hspi1.Init.IOSwap = SPI_IO_SWAP_DISABLE;
  if (HAL_SPI_Init(&hspi1) != HAL_OK)
  {
    Error_Handler();
  }

}

static void MX_SPI2_Init(void)
{

  /* SPI2 parameter configuration*/
  hspi2.Instance = SPI2;
  hspi2.Init.Mode = SPI_MODE_MASTER;
  hspi2.Init.Direction = SPI_DIRECTION_2LINES_RXONLY;
  hspi2.Init.DataSize = SPI_DATASIZE_16BIT;
  hspi2.Init.CLKPolarity = SPI_POLARITY_LOW;
  hspi2.Init.CLKPhase = SPI_PHASE_1EDGE;
  hspi2.Init.NSS = SPI_NSS_SOFT;
  hspi2.Init.BaudRatePrescaler = SPI_BAUDRATEPRESCALER_256;
  hspi2.Init.FirstBit = SPI_FIRSTBIT_MSB;
  hspi2.Init.TIMode = SPI_TIMODE_DISABLE;
  hspi2.Init.CRCCalculation = SPI_CRCCALCULATION_DISABLE;
  hspi2.Init.CRCPolynomial = 0x0;
  hspi2.Init.NSSPMode = SPI_NSS_PULSE_ENABLE;
  hspi2.Init.NSSPolarity = SPI_NSS_POLARITY_LOW;
  hspi2.Init.FifoThreshold = SPI_FIFO_THRESHOLD_01DATA;
  hspi2.Init.TxCRCInitializationPattern = SPI_CRC_INITIALIZATION_ALL_ZERO_PATTERN;
  hspi2.Init.RxCRCInitializationPattern = SPI_CRC_INITIALIZATION_ALL_ZERO_PATTERN;
  hspi2.Init.MasterSSIdleness = SPI_MASTER_SS_IDLENESS_00CYCLE;
  hspi2.Init.MasterInterDataIdleness = SPI_MASTER_INTERDATA_IDLENESS_00CYCLE;
  hspi2.Init.MasterReceiverAutoSusp = SPI_MASTER_RX_AUTOSUSP_DISABLE;
  hspi2.Init.MasterKeepIOState = SPI_MASTER_KEEP_IO_STATE_DISABLE;
  hspi2.Init.IOSwap = SPI_IO_SWAP_DISABLE;
  if (HAL_SPI_Init(&hspi2) != HAL_OK)
  {
    Error_Handler();
  }

}

static void MX_TIM1_Init(void)
{

  TIM_MasterConfigTypeDef sMasterConfig = {0};
  TIM_OC_InitTypeDef sConfigOC = {0};
  TIM_BreakDeadTimeConfigTypeDef sBreakDeadTimeConfig = {0};

  htim1.Instance = TIM1;
  htim1.Init.Prescaler = 100 - 1;
  htim1.Init.CounterMode = TIM_COUNTERMODE_UP;
  htim1.Init.Period = 60000 - 1;
  htim1.Init.ClockDivision = TIM_CLOCKDIVISION_DIV1;
  htim1.Init.RepetitionCounter = 0;
  htim1.Init.AutoReloadPreload = TIM_AUTORELOAD_PRELOAD_DISABLE;
  if (HAL_TIM_PWM_Init(&htim1) != HAL_OK)
  {
    Error_Handler();
  }
  sMasterConfig.MasterOutputTrigger = TIM_TRGO_RESET;
  sMasterConfig.MasterOutputTrigger2 = TIM_TRGO2_RESET;
  sMasterConfig.MasterSlaveMode = TIM_MASTERSLAVEMODE_DISABLE;
  if (HAL_TIMEx_MasterConfigSynchronization(&htim1, &sMasterConfig) != HAL_OK)
  {
    Error_Handler();
  }
  sConfigOC.OCMode = TIM_OCMODE_PWM1;
  sConfigOC.Pulse = 480 - 1;
  sConfigOC.OCPolarity = TIM_OCPOLARITY_HIGH;
  sConfigOC.OCNPolarity = TIM_OCNPOLARITY_HIGH;
  sConfigOC.OCFastMode = TIM_OCFAST_DISABLE;
  sConfigOC.OCIdleState = TIM_OCIDLESTATE_RESET;
  sConfigOC.OCNIdleState = TIM_OCNIDLESTATE_RESET;
  if (HAL_TIM_PWM_ConfigChannel(&htim1, &sConfigOC, TIM_CHANNEL_1) != HAL_OK)
  {
    Error_Handler();
  }
  sBreakDeadTimeConfig.OffStateRunMode = TIM_OSSR_DISABLE;
  sBreakDeadTimeConfig.OffStateIDLEMode = TIM_OSSI_DISABLE;
  sBreakDeadTimeConfig.LockLevel = TIM_LOCKLEVEL_OFF;
  sBreakDeadTimeConfig.DeadTime = 0;
  sBreakDeadTimeConfig.BreakState = TIM_BREAK_DISABLE;
  sBreakDeadTimeConfig.BreakPolarity = TIM_BREAKPOLARITY_HIGH;
  sBreakDeadTimeConfig.BreakFilter = 0;
  sBreakDeadTimeConfig.Break2State = TIM_BREAK2_DISABLE;
  sBreakDeadTimeConfig.Break2Polarity = TIM_BREAK2POLARITY_HIGH;
  sBreakDeadTimeConfig.Break2Filter = 0;
  sBreakDeadTimeConfig.AutomaticOutput = TIM_AUTOMATICOUTPUT_DISABLE;
  if (HAL_TIMEx_ConfigBreakDeadTime(&htim1, &sBreakDeadTimeConfig) != HAL_OK)
  {
    Error_Handler();
  }
  HAL_TIM_MspPostInit(&htim1);

}

static void MX_TIM2_Init(void)
{

  TIM_ClockConfigTypeDef sClockSourceConfig = {0};
  TIM_MasterConfigTypeDef sMasterConfig = {0};
  TIM_OC_InitTypeDef sConfigOC = {0};

  htim2.Instance = TIM2;
  htim2.Init.Prescaler = 48 - 1;
  htim2.Init.CounterMode = TIM_COUNTERMODE_UP;
  htim2.Init.Period = 3125 - 1;
  htim2.Init.ClockDivision = TIM_CLOCKDIVISION_DIV1;
  htim2.Init.AutoReloadPreload = TIM_AUTORELOAD_PRELOAD_DISABLE;
  if (HAL_TIM_Base_Init(&htim2) != HAL_OK)
  {
    Error_Handler();
  }
  sClockSourceConfig.ClockSource = TIM_CLOCKSOURCE_INTERNAL;
  if (HAL_TIM_ConfigClockSource(&htim2, &sClockSourceConfig) != HAL_OK)
  {
    Error_Handler();
  }
  if (HAL_TIM_PWM_Init(&htim2) != HAL_OK)
  {
    Error_Handler();
  }
  sMasterConfig.MasterOutputTrigger = TIM_TRGO_RESET;
  sMasterConfig.MasterSlaveMode = TIM_MASTERSLAVEMODE_DISABLE;
  if (HAL_TIMEx_MasterConfigSynchronization(&htim2, &sMasterConfig) != HAL_OK)
  {
    Error_Handler();
  }
  sConfigOC.OCMode = TIM_OCMODE_PWM1;
  sConfigOC.Pulse = 0;
  sConfigOC.OCPolarity = TIM_OCPOLARITY_HIGH;
  sConfigOC.OCFastMode = TIM_OCFAST_DISABLE;
  if (HAL_TIM_PWM_ConfigChannel(&htim2, &sConfigOC, TIM_CHANNEL_4) != HAL_OK)
  {
    Error_Handler();
  }
  HAL_TIM_MspPostInit(&htim2);

}

static void MX_TIM6_Init(void)
{

  TIM_MasterConfigTypeDef sMasterConfig = {0};

  htim6.Instance = TIM6;
  htim6.Init.Prescaler = 48-1;
  htim6.Init.CounterMode = TIM_COUNTERMODE_UP;
  htim6.Init.Period = 3125;
  htim6.Init.AutoReloadPreload = TIM_AUTORELOAD_PRELOAD_DISABLE;
  if (HAL_TIM_Base_Init(&htim6) != HAL_OK)
  {
    Error_Handler();
  }
  sMasterConfig.MasterOutputTrigger = TIM_TRGO_ENABLE;
  sMasterConfig.MasterSlaveMode = TIM_MASTERSLAVEMODE_DISABLE;
  if (HAL_TIMEx_MasterConfigSynchronization(&htim6, &sMasterConfig) != HAL_OK)
  {
    Error_Handler();
  }

}

static void MX_USART1_UART_Init(void)
{

  huart1.Instance = USART1;
  huart1.Init.BaudRate = 57600;
  huart1.Init.WordLength = UART_WORDLENGTH_8B;
  huart1.Init.StopBits = UART_STOPBITS_1;
  huart1.Init.Parity = UART_PARITY_NONE;
  huart1.Init.Mode = UART_MODE_TX_RX;
  huart1.Init.HwFlowCtl = UART_HWCONTROL_NONE;
  huart1.Init.OverSampling = UART_OVERSAMPLING_16;
  huart1.Init.OneBitSampling = UART_ONE_BIT_SAMPLE_DISABLE;
  huart1.Init.ClockPrescaler = UART_PRESCALER_DIV1;
  huart1.AdvancedInit.AdvFeatureInit = UART_ADVFEATURE_NO_INIT;
  if (HAL_UART_Init(&huart1) != HAL_OK)
  {
    Error_Handler();
  }
  if (HAL_UARTEx_SetTxFifoThreshold(&huart1, UART_TXFIFO_THRESHOLD_1_8) != HAL_OK)
  {
    Error_Handler();
  }
  if (HAL_UARTEx_SetRxFifoThreshold(&huart1, UART_RXFIFO_THRESHOLD_1_8) != HAL_OK)
  {
    Error_Handler();
  }
  if (HAL_UARTEx_DisableFifoMode(&huart1) != HAL_OK)
  {
    Error_Handler();
  }

}

static void MX_DMA_Init(void)
{

  /* DMA controller clock enable */
  __HAL_RCC_DMA1_CLK_ENABLE();

  /* DMA interrupt init */
  /* DMA1_Stream0_IRQn interrupt configuration */
  HAL_NVIC_SetPriority(DMA1_Stream0_IRQn, 0, 0);
  HAL_NVIC_EnableIRQ(DMA1_Stream0_IRQn);
  /* DMA1_Stream1_IRQn interrupt configuration */
  HAL_NVIC_SetPriority(DMA1_Stream1_IRQn, 0, 0);
  HAL_NVIC_EnableIRQ(DMA1_Stream1_IRQn);
  /* DMA1_Stream5_IRQn interrupt configuration */
  HAL_NVIC_SetPriority(DMA1_Stream5_IRQn, 0, 0);
  HAL_NVIC_EnableIRQ(DMA1_Stream5_IRQn);

}

static void MX_GPIO_Init(void)
{
  GPIO_InitTypeDef GPIO_InitStruct = {0};

  /* GPIO Ports Clock Enable */
  __HAL_RCC_GPIOC_CLK_ENABLE();
  __HAL_RCC_GPIOH_CLK_ENABLE();
  __HAL_RCC_GPIOA_CLK_ENABLE();
  __HAL_RCC_GPIOB_CLK_ENABLE();

  /*Configure GPIO pin Output Level */
  HAL_GPIO_WritePin(GPIOC, GPIO_PIN_13|GPIO_PIN_6|GPIO_PIN_7|GPIO_PIN_8
                          |GPIO_PIN_9|GPIO_PIN_10, GPIO_PIN_RESET);

  /*Configure GPIO pin Output Level */
  HAL_GPIO_WritePin(GPIOB, GPIO_PIN_2|GPIO_PIN_5|GPIO_PIN_6, GPIO_PIN_RESET);

  /*Configure GPIO pins : PC13 PC6 PC7 PC8
                           PC9 PC10 */
  GPIO_InitStruct.Pin = GPIO_PIN_13|GPIO_PIN_6|GPIO_PIN_7|GPIO_PIN_8
                          |GPIO_PIN_9|GPIO_PIN_10;
  GPIO_InitStruct.Mode = GPIO_MODE_OUTPUT_PP;
  GPIO_InitStruct.Pull = GPIO_NOPULL;
  GPIO_InitStruct.Speed = GPIO_SPEED_FREQ_LOW;
  HAL_GPIO_Init(GPIOC, &GPIO_InitStruct);

  /*Configure GPIO pins : PB2 PB5 PB6 */
  GPIO_InitStruct.Pin = GPIO_PIN_2|GPIO_PIN_5|GPIO_PIN_6;
  GPIO_InitStruct.Mode = GPIO_MODE_OUTPUT_PP;
  GPIO_InitStruct.Pull = GPIO_NOPULL;
  GPIO_InitStruct.Speed = GPIO_SPEED_FREQ_LOW;
  HAL_GPIO_Init(GPIOB, &GPIO_InitStruct);

}

/* USER CODE BEGIN 4 */

/**
 * @brief  Conversion DMA half-transfer callback in non-blocking mode
 * @param  hadc: ADC handle
 * @retval None
 */
void HAL_ADC_ConvCpltCallback(ADC_HandleTypeDef *hadc) {
	/* Invalidate Data Cache to get the updated content of the SRAM on the second half of the ADC converted data buffer: 32 bytes */
	if (hadc == &hadc1) {
		SCB_InvalidateDCache_by_Addr((uint32_t*) &ADC1Data[ADC1NumChannels / 2],
				ADC1NumChannels);
	} else if (hadc == &hadc3) {
		SCB_InvalidateDCache_by_Addr((uint32_t*) &ADC3Data[ADC3NumChannels / 2],
				ADC3NumChannels);

	}

}

/* USER CODE END 4 */

void Error_Handler(void)
{
	__disable_irq();
	while (1) {
	}
}
